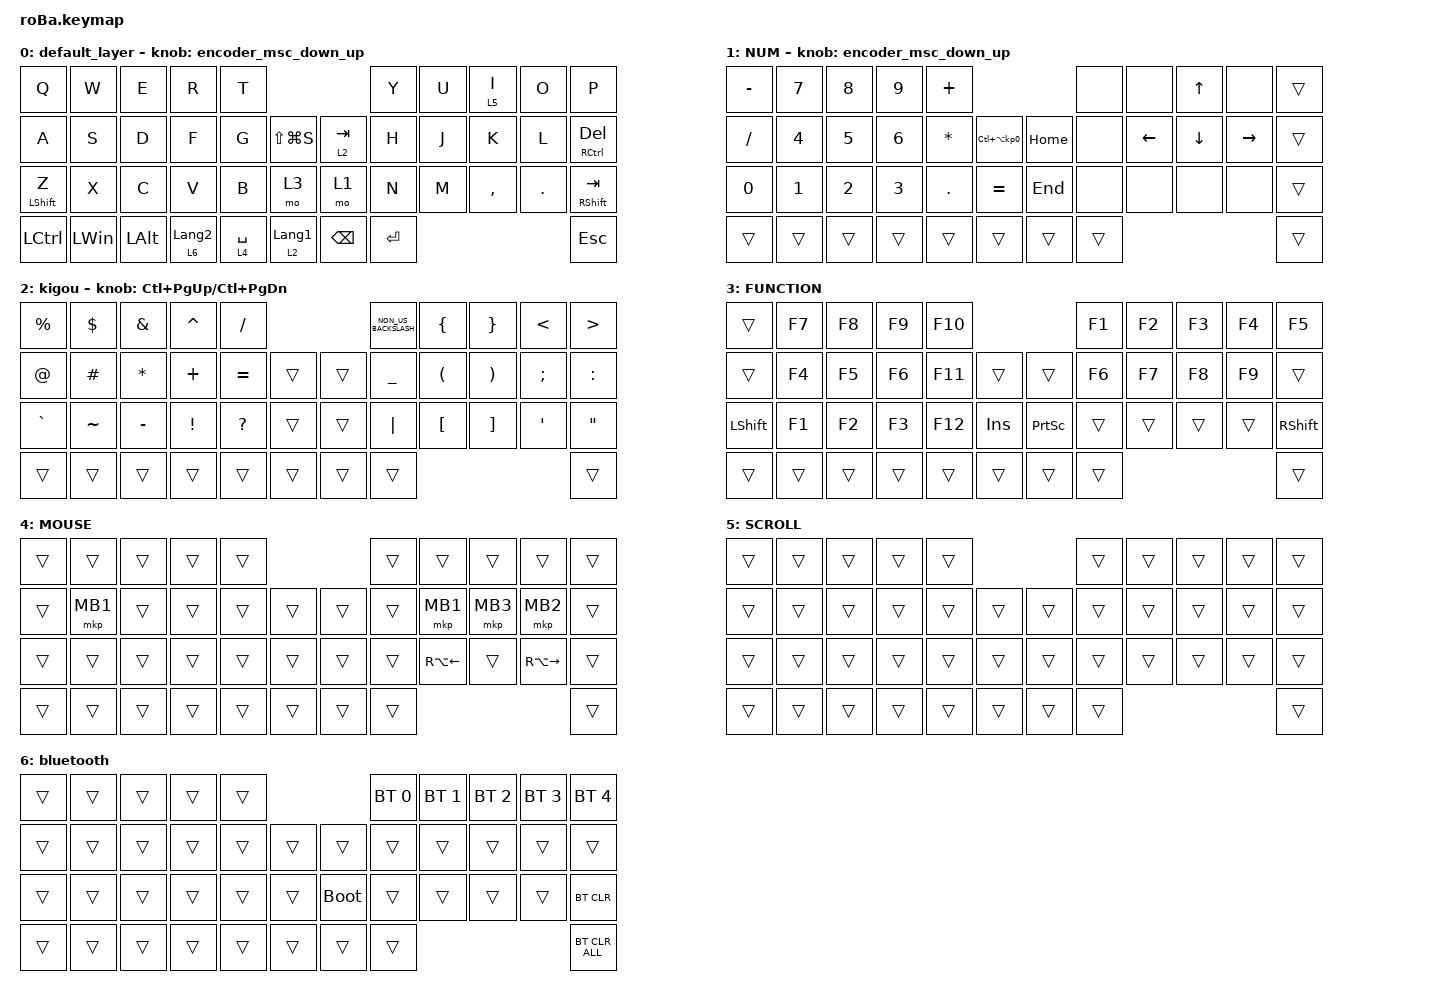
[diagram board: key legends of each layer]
#include <behaviors.dtsi>
#include <dt-bindings/zmk/bt.h>
#include <dt-bindings/zmk/keys.h>
#include <dt-bindings/zmk/pointing.h>

#define ZMK_POINTING_DEFAULT_SCRL_VAL 100

&mt {
    flavor = "balanced";
    quick-tap-ms = <0>;
};

&trackball {
    automouse-layer = <4>;
    scroll-layers = <5>;

    // arrows {
    //     layers = <3>;
    //     bindings =
    //         <&kp RIGHT_ARROW>,
    //         <&kp LEFT_ARROW>,
    //         <&kp UP_ARROW>,
    //         <&kp DOWN_ARROW>;
    //     tick = <10>;
    //     wait-ms = <5>;
    //     tap-ms = <5>;
    // };
};

/ {
    combos {
        compatible = "zmk,combos";

        tab {
            bindings = <&kp TAB>;
            key-positions = <11 12>;
        };

        shift_tab {
            bindings = <&kp LS(TAB)>;
            key-positions = <12 13>;
        };

        muhennkann {
            bindings = <&to_layer_0 INT_MUHENKAN>;
            key-positions = <11 10>;
        };

        esc {
            bindings = <&kp ESC>;
            key-positions = <20 21>;
        };

        ins {
            bindings = <&kp INSERT>;
            key-positions = <18 19>;
        };

        printscreen {
            bindings = <&kp PRINTSCREEN>;
            key-positions = <19 20>;
        };
    };

    macros {
        to_layer_0: to_layer_0 {
            compatible = "zmk,behavior-macro-one-param";
            #binding-cells = <1>;
            bindings = <&to 0 &macro_param_1to1 &kp MACRO_PLACEHOLDER>;
            label = "TO_LAYER_0";
        };
    };

    behaviors {
        lt_to_layer_0: lt_to_layer_0 {
            compatible = "zmk,behavior-hold-tap";
            label = "LAYER_TAP_TO_0";
            bindings = <&mo>, <&to_layer_0>;

            #binding-cells = <2>;
            tapping-term-ms = <200>;
        };

        encoder_msc_down_up: encoder_msc_down_up {
            compatible = "zmk,behavior-sensor-rotate";
            label = "ENCODER_MSC_DOWN_UP";
            #sensor-binding-cells = <0>;
            bindings = <&msc SCRL_DOWN>, <&msc SCRL_UP>;

            // 追加: スクロールのタップ時間を設定 (20ms)

            tap-ms = <20>;
        };
    };

    keymap {
        compatible = "zmk,keymap";

        default_layer {
            bindings = <
&kp Q             &kp W         &kp E         &kp R             &kp T                                             &kp Y      &kp U  &lt 5 I    &kp O    &kp P
&kp A             &kp S         &kp D         &kp F             &kp G        &kp LS(LG(S))         &lt 2 TAB      &kp H      &kp J  &kp K      &kp L    &mt RCTRL DEL
&mt LEFT_SHIFT Z  &kp X         &kp C         &kp V             &kp B        &mo 3                 &mo 1          &kp N      &kp M  &kp COMMA  &kp DOT  &mt RSHFT TAB
&kp LCTRL         &kp LEFT_WIN  &kp LEFT_ALT  &lt 6 LANGUAGE_2  &lt 4 SPACE  &lt 2 LANGUAGE_1      &kp BACKSPACE  &kp ENTER                             &kp ESC
            >;

            sensor-bindings = <&encoder_msc_down_up>;
        };

        NUM {
            bindings = <
&kp MINUS     &kp N7  &kp N8  &kp N9  &kp PLUS                                             &none   &none           &kp UP_ARROW    &none            &trans
&kp SLASH     &kp N4  &kp N5  &kp N6  &kp ASTERISK  &kp LC(LA(KP_NUMBER_0))      &kp HOME  &none   &kp LEFT_ARROW  &kp DOWN_ARROW  &kp RIGHT_ARROW  &trans
&kp NUMBER_0  &kp N1  &kp N2  &kp N3  &kp PERIOD    &kp EQUAL                    &kp END   &none   &none           &none           &none            &trans
&trans        &trans  &trans  &trans  &trans        &trans                       &trans    &trans                                                   &trans
            >;

            sensor-bindings = <&encoder_msc_down_up>;
        };

        kigou {
            bindings = <
&kp PERCENT  &kp DLLR   &kp AMPERSAND  &kp CARET        &kp SLASH                         &kp NON_US_BACKSLASH  &kp LEFT_BRACE        &kp RIGHT_BRACE        &kp LESS_THAN  &kp GREATER_THAN
&kp AT       &kp HASH   &kp ASTERISK   &kp PLUS         &kp EQUAL     &trans      &trans  &kp UNDERSCORE        &kp LEFT_PARENTHESIS  &kp RIGHT_PARENTHESIS  &kp SEMICOLON  &kp COLON
&kp GRAVE    &kp TILDE  &kp MINUS      &kp EXCLAMATION  &kp QUESTION  &trans      &trans  &kp PIPE              &kp LEFT_BRACKET      &kp RIGHT_BRACKET      &kp SQT        &kp DOUBLE_QUOTES
&trans       &trans     &trans         &trans           &trans        &trans      &trans  &trans                                                                            &trans
            >;

            sensor-bindings = <&inc_dec_kp LC(PAGE_UP) LC(PAGE_DOWN)>;
        };

        FUNCTION {
            bindings = <
&trans          &kp F7  &kp F8  &kp F9  &kp F10                                &kp F1  &kp F2  &kp F3  &kp F4  &kp F5
&trans          &kp F4  &kp F5  &kp F6  &kp F11  &trans       &trans           &kp F6  &kp F7  &kp F8  &kp F9  &trans
&kp LEFT_SHIFT  &kp F1  &kp F2  &kp F3  &kp F12  &kp INS      &kp PRINTSCREEN  &trans  &trans  &trans  &trans  &kp RIGHT_SHIFT
&trans          &trans  &trans  &trans  &trans   &trans       &trans           &trans                          &trans
            >;
        };

        MOUSE {
            bindings = <
&trans  &trans    &trans  &trans  &trans                      &trans  &trans              &trans    &trans               &trans
&trans  &mkp MB1  &trans  &trans  &trans  &trans      &trans  &trans  &mkp MB1            &mkp MB3  &mkp MB2             &trans
&trans  &trans    &trans  &trans  &trans  &trans      &trans  &trans  &kp RA(LEFT_ARROW)  &trans    &kp RA(RIGHT_ARROW)  &trans
&trans  &trans    &trans  &trans  &trans  &trans      &trans  &trans                                                     &trans
            >;
        };

        SCROLL {
            bindings = <
&trans  &trans  &trans  &trans  &trans                      &trans  &trans  &trans  &trans  &trans
&trans  &trans  &trans  &trans  &trans  &trans      &trans  &trans  &trans  &trans  &trans  &trans
&trans  &trans  &trans  &trans  &trans  &trans      &trans  &trans  &trans  &trans  &trans  &trans
&trans  &trans  &trans  &trans  &trans  &trans      &trans  &trans                          &trans
            >;
        };

        bluetooth {
            bindings = <
&trans  &trans  &trans  &trans  &trans                           &bt BT_SEL 0  &bt BT_SEL 1  &bt BT_SEL 2  &bt BT_SEL 3  &bt BT_SEL 4
&trans  &trans  &trans  &trans  &trans  &trans      &trans       &trans        &trans        &trans        &trans        &trans
&trans  &trans  &trans  &trans  &trans  &trans      &bootloader  &trans        &trans        &trans        &trans        &bt BT_CLR
&trans  &trans  &trans  &trans  &trans  &trans      &trans       &trans                                                  &bt BT_CLR_ALL
            >;
        };
    };
};
